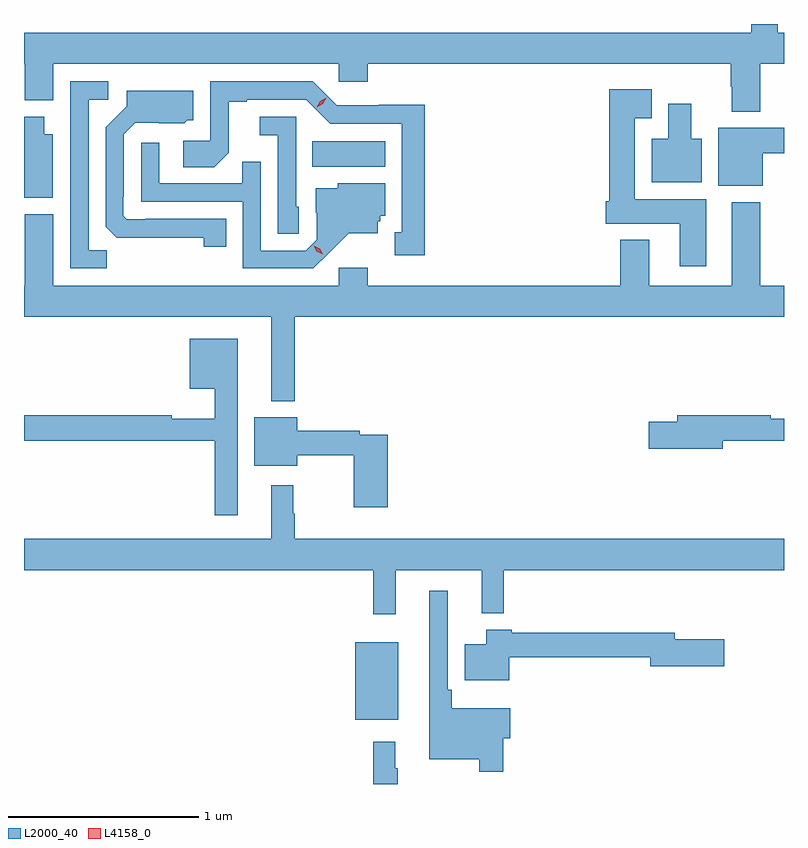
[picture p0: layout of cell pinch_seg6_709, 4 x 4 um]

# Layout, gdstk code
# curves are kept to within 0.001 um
import gdstk
lib = gdstk.Library(unit=1e-6, precision=1e-09)
def R(c, l, rs):  # rectangles x0, y0, x1, y1
    for r in rs: c.add(gdstk.rectangle(r[:2], r[2:], *l))
def P(c, l, *ps):  # polygons
    for p in ps: c.add(gdstk.Polygon(p, *l))
L2000_40 = (2000, 40)
L4158_0 = (4158, 0)

pinch_seg6_709 = lib.new_cell('pinch_seg6_709')
R(pinch_seg6_709, L2000_40, [(618.002,941.219,618.229,941.629), (617.776,944.132,618.16,944.266)])
P(pinch_seg6_709, L2000_40, [(620.087,944.882),(620.087,944.836),(616.259,944.836),(616.259,944.672),(616.262,944.672),(616.262,944.48),(616.414,944.48),(616.414,944.672),(617.916,944.672),(617.916,944.579),(618.068,944.579),(618.068,944.672),(619.978,944.672),(619.978,944.552),(619.985,944.552),(619.985,944.42),(620.133,944.42),(620.133,944.672),(620.259,944.672),(620.259,944.836),(620.227,944.836),(620.227,944.882)],
  [(618.367,944.456),(618.126,944.456),(618.126,944.454),(617.904,944.454),(617.778,944.58),(617.238,944.58),(617.238,944.268),(617.097,944.268),(617.097,944.128),(617.261,944.128),(617.337,944.204),(617.337,944.472),(617.431,944.472),(617.431,944.484),(617.745,944.484),(617.871,944.358),(618.248,944.358),(618.248,943.785),(618.209,943.785),(618.209,943.665),(618.367,943.665)],
  [(616.695,943.691),(616.599,943.691),(616.599,944.484),(616.702,944.484),(616.702,944.58),(616.503,944.58),(616.503,943.596),(616.695,943.596)],
  [(619.849,943.96),(619.474,943.96),(619.474,944.387),(619.564,944.387),(619.564,944.539),(619.34,944.539),(619.34,943.95),(619.322,943.95),(619.322,943.832),(619.709,943.832),(619.709,943.608),(619.849,943.608)],
  [(617.324,943.857),(616.9,943.857),(616.9,943.854),(616.8,943.854),(616.782,943.872),(616.782,943.972),(616.785,943.972),(616.785,944.301),(616.845,944.361),(617.102,944.36),(617.118,944.376),(617.149,944.376),(617.149,944.53),(616.799,944.53),(616.799,944.448),(616.689,944.338),(616.689,943.816),(616.748,943.757),(617.206,943.756),(617.206,943.71),(617.324,943.71)],
  [(619.825,944.278),(619.771,944.278),(619.771,944.461),(619.649,944.461),(619.649,944.278),(619.562,944.278),(619.562,944.048),(619.825,944.048)],
  [(616.411,944.302),(616.366,944.302),(616.366,944.395),(616.259,944.395),(616.259,943.967),(616.411,943.967)],
  [(617.706,943.92),(617.691,943.92),(617.691,944.394),(617.499,944.394),(617.499,944.297),(617.595,944.297),(617.595,943.777),(617.706,943.777)],
  [(620.146,944.201),(620.259,944.201),(620.259,944.335),(619.913,944.335),(619.913,944.03),(620.146,944.03)],
  [(617.866,943.679),(617.969,943.781),(618.121,943.781),(618.121,943.845),(618.135,943.845),(618.135,943.872),(618.16,943.872),(618.16,944.044),(617.91,944.044),(617.91,944.017),(617.795,944.017),(617.795,943.888),(617.799,943.888),(617.799,943.746),(617.742,943.689),(617.505,943.689),(617.505,944.156),(617.407,944.156),(617.407,944.043),(616.971,944.043),(616.971,944.257),(616.875,944.257),(616.875,943.947),(617.409,943.947),(617.409,943.596),(617.782,943.596)],
  [(617.683,943.34),(620.259,943.34),(620.259,943.504),(620.133,943.504),(620.133,943.945),(619.985,943.945),(619.985,943.504),(619.549,943.504),(619.549,943.747),(619.397,943.747),(619.397,943.504),(618.068,943.504),(618.068,943.6),(617.916,943.6),(617.916,943.504),(616.414,943.504),(616.414,943.882),(616.262,943.882),(616.262,943.504),(616.259,943.504),(616.259,943.34),(617.561,943.34),(617.561,942.896),(617.683,942.896)],
  [(617.383,943.225),(617.132,943.225),(617.132,942.962),(617.262,942.962),(617.262,942.805),(617.036,942.805),(617.036,942.824),(616.259,942.824),(616.259,942.688),(617.262,942.688),(617.262,942.297),(617.383,942.297)],
  [(619.936,942.688),(620.259,942.688),(620.259,942.804),(620.189,942.804),(620.189,942.824),(619.697,942.824),(619.697,942.788),(619.548,942.788),(619.548,942.646),(619.936,942.646)],
  [(618.173,942.72),(618.026,942.72),(618.026,942.74),(617.698,942.74),(617.698,942.811),(617.471,942.811),(617.471,942.557),(617.698,942.557),(617.698,942.612),(617.995,942.612),(617.995,942.339),(618.173,942.339)],
  [(618.215,942.008),(618.668,942.008),(618.668,941.78),(618.785,941.78),(618.785,942.008),(620.259,942.008),(620.259,942.172),(617.683,942.172),(617.683,942.305),(617.675,942.305),(617.675,942.454),(617.561,942.454),(617.561,942.172),(616.259,942.172),(616.259,942.008),(618.097,942.008),(618.097,941.775),(618.215,941.775)],
  [(618.782,941.123),(618.817,941.123),(618.817,941.281),(618.509,941.281),(618.509,941.377),(618.489,941.377),(618.489,941.899),(618.392,941.899),(618.392,941.012),(618.654,941.012),(618.654,940.947),(618.782,940.947)],
  [(618.814,941.548),(619.556,941.548),(619.556,941.501),(619.945,941.501),(619.945,941.643),(619.684,941.643),(619.684,941.677),(618.827,941.677),(618.827,941.695),(618.692,941.695),(618.692,941.617),(618.578,941.617),(618.578,941.429),(618.814,941.429)],
  [(618.226,940.964),(618.214,940.964),(618.214,941.104),(618.097,941.104),(618.097,940.882),(618.226,940.882)])
P(pinch_seg6_709, L4158_0, [(617.8,944.443),(617.8,944.443),(617.817,944.476),(617.849,944.494),(617.849,944.494),(617.849,944.494),(617.831,944.462),(617.8,944.443)],
  [(617.832,943.67),(617.801,943.685),(617.784,943.714),(617.784,943.715),(617.784,943.715),(617.815,943.699),(617.832,943.67),(617.832,943.67)])

lib.write_gds('pinch_seg6_709.gds')
